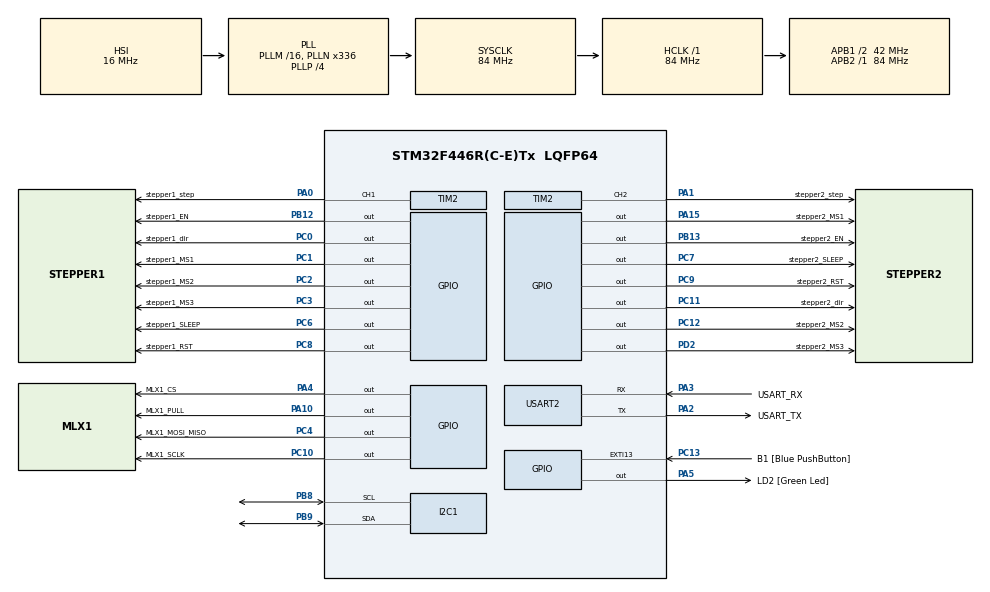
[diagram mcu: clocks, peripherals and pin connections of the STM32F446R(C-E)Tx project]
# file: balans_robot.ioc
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FREERTOS.Tasks01=defaultTask,0,128,StartDefaultTask,Default,NULL
I2C1.I2C_Mode=I2C_Standard
Mcu.Family=STM32F4
Mcu.Name=STM32F446R(C-E)Tx
Mcu.Package=LQFP64
Mcu.UserConstants=TIM2_PRESCALER,20
NVIC.PriorityGroup=NVIC_PRIORITYGROUP_4
NVIC.TIM1_UP_TIM10_IRQn=true\:0\:0\:false\:false\:true\:false
NVIC.TimeBase=TIM1_UP_TIM10_IRQn
NVIC.TimeBaseIP=TIM1
PA0-WKUP.GPIO_Label=stepper1_step
PA0-WKUP.Signal=S_TIM2_CH1_ETR
PA1.GPIO_Label=stepper2_step
PA1.Signal=S_TIM2_CH2
PA10.GPIO_Label=MLX1_PULL
PA10.Signal=GPIO_Output
PA13.GPIO_Label=TMS
PA13.Signal=SYS_JTMS-SWDIO
PA14.GPIO_Label=TCK
PA14.Signal=SYS_JTCK-SWCLK
PA15.GPIO_Label=stepper2_MS1
PA15.Signal=GPIO_Output
PA2.GPIO_Label=USART_TX
PA2.Mode=Asynchronous
PA2.Signal=USART2_TX
PA3.GPIO_Label=USART_RX
PA3.Mode=Asynchronous
PA3.Signal=USART2_RX
PA4.GPIO_Label=MLX1_CS
PA4.Signal=GPIO_Output
PA5.GPIO_Label=LD2 [Green Led]
PA5.Signal=GPIO_Output
PB12.GPIO_Label=stepper1_EN
PB12.Signal=GPIO_Output
PB13.GPIO_Label=stepper2_EN
PB13.Signal=GPIO_Output
PB15.Signal=SPI2_MOSI
PB3.GPIO_Label=SWO
PB3.Signal=SYS_JTDO-SWO
PB8.Mode=I2C
PB8.Signal=I2C1_SCL
PB9.Mode=I2C
PB9.Signal=I2C1_SDA
PC0.GPIO_Label=stepper1_dir
PC0.GPIO_PuPd=GPIO_PULLDOWN
PC0.Signal=GPIO_Output
PC1.GPIO_Label=stepper1_MS1
PC1.GPIO_PuPd=GPIO_PULLDOWN
PC1.Signal=GPIO_Output
PC10.GPIO_Label=MLX1_SCLK
PC10.Signal=GPIO_Output
PC11.GPIO_Label=stepper2_dir
PC11.Signal=GPIO_Output
PC12.GPIO_Label=stepper2_MS2
PC12.Signal=GPIO_Output
PC13.GPIO_Label=B1 [Blue PushButton]
PC13.GPIO_ModeDefaultEXTI=GPIO_MODE_IT_FALLING
PC13.Signal=GPXTI13
PC14-OSC32_IN.Signal=RCC_OSC32_IN
PC15-OSC32_OUT.Signal=RCC_OSC32_OUT
PC2.GPIO_Label=stepper1_MS2
PC2.GPIO_PuPd=GPIO_PULLDOWN
PC2.Signal=GPIO_Output
PC3.GPIO_Label=stepper1_MS3
PC3.GPIO_PuPd=GPIO_PULLDOWN
PC3.Signal=GPIO_Output
PC4.GPIO_Label=MLX1_MOSI_MISO
PC4.Signal=GPIO_Output
PC6.GPIO_Label=stepper1_SLEEP
PC6.Signal=GPIO_Output
PC7.GPIO_Label=stepper2_SLEEP
PC7.Signal=GPIO_Output
PC8.GPIO_Label=stepper1_RST
PC8.Signal=GPIO_Output
PC9.GPIO_Label=stepper2_RST
PC9.Signal=GPIO_Output
PD2.GPIO_Label=stepper2_MS3
PD2.Signal=GPIO_Output
PH0-OSC_IN.Signal=RCC_OSC_IN
PH1-OSC_OUT.Signal=RCC_OSC_OUT
ProjectManager.HeapSize=0x200
ProjectManager.StackSize=0x400
ProjectManager.TargetToolchain=TrueSTUDIO
RCC.AHBFreq_Value=84000000
RCC.APB1CLKDivider=RCC_HCLK_DIV2
RCC.APB1Freq_Value=42000000
RCC.APB1TimFreq_Value=84000000
RCC.APB2Freq_Value=84000000
RCC.APB2TimFreq_Value=84000000
RCC.CortexFreq_Value=84000000
RCC.FLatency-AdvancedSettings=FLASH_LATENCY_2
RCC.HCLKFreq_Value=84000000
RCC.HSE_VALUE=8000000
RCC.HSI_VALUE=16000000
RCC.LSE_VALUE=32768
RCC.PLLN=336
RCC.PLLP=RCC_PLLP_DIV4
RCC.PLLSourceVirtual=RCC_PLLSOURCE_HSI
RCC.RCC_RTC_Clock_SourceVirtual=RCC_RTCCLKSOURCE_LSI
RCC.SYSCLKFreq_VALUE=84000000
RCC.SYSCLKSource=RCC_SYSCLKSOURCE_PLLCLK
RCC.USBFreq_Value=168000000
RCC.VCOOutputFreq_Value=336000000
SH.S_TIM2_CH1_ETR.0=TIM2_CH1,PWM Generation1 CH1
SH.S_TIM2_CH2.0=TIM2_CH2,PWM Generation2 CH2
TIM2.Channel-PWM\ Generation1\ CH1=TIM_CHANNEL_1
TIM2.Channel-PWM\ Generation2\ CH2=TIM_CHANNEL_2
TIM2.ClockDivision=TIM_CLOCKDIVISION_DIV1
TIM2.Period=4000
TIM2.Prescaler=TIM2_PRESCALER
TIM2.Pulse-PWM\ Generation1\ CH1=2000
TIM2.Pulse-PWM\ Generation2\ CH2=2000
USART2.VirtualMode=VM_ASYNC
VP_FREERTOS_VS_ENABLE.Mode=Enabled
VP_SYS_VS_tim1.Mode=TIM1
VP_TIM3_VS_ClockSourceINT.Mode=Internal
board=NUCLEO-F446RE

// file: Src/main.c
/**
  ******************************************************************************
  * File Name          : main.c
  * Description        : Main program body
  ******************************************************************************
  * This notice applies to any and all portions of this file
  * that are not between comment pairs USER CODE BEGIN and
  * USER CODE END. Other portions of this file, whether
  * inserted by the user or by software development tools
  * are owned by their respective copyright owners.
  *
  * Copyright (c) 2017 STMicroelectronics International N.V.
  * All rights reserved.
  *
  * Redistribution and use in source and binary forms, with or without
  * modification, are permitted, provided that the following conditions are met:
  *
  * 1. Redistribution of source code must retain the above copyright notice,
  *    this list of conditions and the following disclaimer.
  * 2. Redistributions in binary form must reproduce the above copyright notice,
  *    this list of conditions and the following disclaimer in the documentation
  *    and/or other materials provided with the distribution.
  * 3. Neither the name of STMicroelectronics nor the names of other
  *    contributors to this software may be used to endorse or promote products
  *    derived from this software without specific written permission.
  * 4. This software, including modifications and/or derivative works of this
  *    software, must execute solely and exclusively on microcontroller or
  *    microprocessor devices manufactured by or for STMicroelectronics.
  * 5. Redistribution and use of this software other than as permitted under
  *    this license is void and will automatically terminate your rights under
  *    this license.
  *
  * THIS SOFTWARE IS PROVIDED BY STMICROELECTRONICS AND CONTRIBUTORS "AS IS"
  * AND ANY EXPRESS, IMPLIED OR STATUTORY WARRANTIES, INCLUDING, BUT NOT
  * LIMITED TO, THE IMPLIED WARRANTIES OF MERCHANTABILITY, FITNESS FOR A
  * PARTICULAR PURPOSE AND NON-INFRINGEMENT OF THIRD PARTY INTELLECTUAL PROPERTY
  * RIGHTS ARE DISCLAIMED TO THE FULLEST EXTENT PERMITTED BY LAW. IN NO EVENT
  * SHALL STMICROELECTRONICS OR CONTRIBUTORS BE LIABLE FOR ANY DIRECT, INDIRECT,
  * INCIDENTAL, SPECIAL, EXEMPLARY, OR CONSEQUENTIAL DAMAGES (INCLUDING, BUT NOT
  * LIMITED TO, PROCUREMENT OF SUBSTITUTE GOODS OR SERVICES; LOSS OF USE, DATA,
  * OR PROFITS; OR BUSINESS INTERRUPTION) HOWEVER CAUSED AND ON ANY THEORY OF
  * LIABILITY, WHETHER IN CONTRACT, STRICT LIABILITY, OR TORT (INCLUDING
  * NEGLIGENCE OR OTHERWISE) ARISING IN ANY WAY OUT OF THE USE OF THIS SOFTWARE,
  * EVEN IF ADVISED OF THE POSSIBILITY OF SUCH DAMAGE.
  *
  ******************************************************************************
  */
#include "main.h"
#include "stm32f4xx_hal.h"
#include "cmsis_os.h"
#include "i2c.h"
#include "tim.h"
#include "usart.h"
#include "gpio.h"

/* USER CODE BEGIN PV */
uint32_t HCLKFreq;				//System clock
uint32_t APB1_timer_clock;
uint32_t Tim2_freq;				//Timer 2 frequency (84MHz) default
uint32_t Tim2_counter_clock;	//Counter freq after prescaling
/* Private variables ---------------------------------------------------------*/

/* USER CODE END PV */

void SystemClock_Config(void);
void MX_FREERTOS_Init(void);

/* USER CODE BEGIN PFP */
/* Private function prototypes -----------------------------------------------*/

/* USER CODE END PFP */

int main(void)
{

  /* MCU Configuration----------------------------------------------------------*/

  /* Reset of all peripherals, Initializes the Flash interface and the Systick. */
  HAL_Init();

  /* Configure the system clock */
  SystemClock_Config();

  /* Initialize all configured peripherals */
  MX_GPIO_Init();
  MX_I2C1_Init();
  MX_TIM2_Init();
  MX_USART2_UART_Init();
  MX_TIM3_Init();

  /* USER CODE BEGIN 2 */

	HAL_TIM_OC_Start(&htim2, TIM_CHANNEL_1);	//start PWM CH1
	HAL_TIM_OC_Start(&htim2, TIM_CHANNEL_2);	//start PWM CH2
	init_system();
  /* USER CODE END 2 */

  /* Call init function for freertos objects (in freertos.c) */
  MX_FREERTOS_Init();

  /* Start scheduler */
  osKernelStart();

  /* We should never get here as control is now taken by the scheduler */

  /* Infinite loop */
  while (1)
  {

  }

}

/** System Clock Configuration
*/
void SystemClock_Config(void)
{

  RCC_OscInitTypeDef RCC_OscInitStruct;
  RCC_ClkInitTypeDef RCC_ClkInitStruct;

    /**Configure the main internal regulator output voltage
    */
  __HAL_RCC_PWR_CLK_ENABLE();

  __HAL_PWR_VOLTAGESCALING_CONFIG(PWR_REGULATOR_VOLTAGE_SCALE3);

    /**Initializes the CPU, AHB and APB busses clocks
    */
  RCC_OscInitStruct.OscillatorType = RCC_OSCILLATORTYPE_HSI;
  RCC_OscInitStruct.HSIState = RCC_HSI_ON;
  RCC_OscInitStruct.HSICalibrationValue = 16;
  RCC_OscInitStruct.PLL.PLLState = RCC_PLL_ON;
  RCC_OscInitStruct.PLL.PLLSource = RCC_PLLSOURCE_HSI;
  RCC_OscInitStruct.PLL.PLLM = 16;
  RCC_OscInitStruct.PLL.PLLN = 336;
  RCC_OscInitStruct.PLL.PLLP = RCC_PLLP_DIV4;
  RCC_OscInitStruct.PLL.PLLQ = 2;
  RCC_OscInitStruct.PLL.PLLR = 2;
  if (HAL_RCC_OscConfig(&RCC_OscInitStruct) != HAL_OK)
  {
    _Error_Handler(__FILE__, __LINE__);
  }

    /**Initializes the CPU, AHB and APB busses clocks
    */
  RCC_ClkInitStruct.ClockType = RCC_CLOCKTYPE_HCLK|RCC_CLOCKTYPE_SYSCLK
                              |RCC_CLOCKTYPE_PCLK1|RCC_CLOCKTYPE_PCLK2;
  RCC_ClkInitStruct.SYSCLKSource = RCC_SYSCLKSOURCE_PLLCLK;
  RCC_ClkInitStruct.AHBCLKDivider = RCC_SYSCLK_DIV1;
  RCC_ClkInitStruct.APB1CLKDivider = RCC_HCLK_DIV2;
  RCC_ClkInitStruct.APB2CLKDivider = RCC_HCLK_DIV1;

  if (HAL_RCC_ClockConfig(&RCC_ClkInitStruct, FLASH_LATENCY_2) != HAL_OK)
  {
    _Error_Handler(__FILE__, __LINE__);
  }

    /**Configure the Systick interrupt time
    */
  HAL_SYSTICK_Config(HAL_RCC_GetHCLKFreq()/1000);

    /**Configure the Systick
    */
  HAL_SYSTICK_CLKSourceConfig(SYSTICK_CLKSOURCE_HCLK);

  /* SysTick_IRQn interrupt configuration */
  HAL_NVIC_SetPriority(SysTick_IRQn, 15, 0);
}

void HAL_TIM_PeriodElapsedCallback(TIM_HandleTypeDef *htim)
{
  if (htim->Instance == TIM1) {
    HAL_IncTick();
  }
}

void _Error_Handler(char * file, int line)
{
  while(1)
  {
  }
}

/************************ (C) COPYRIGHT STMicroelectronics *****END OF FILE****/

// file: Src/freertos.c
/**
  ******************************************************************************
  * File Name          : freertos.c
  * Description        : Code for freertos applications
  ******************************************************************************
  * This notice applies to any and all portions of this file
  * that are not between comment pairs USER CODE BEGIN and
  * USER CODE END. Other portions of this file, whether
  * inserted by the user or by software development tools
  * are owned by their respective copyright owners.
  *
  * Copyright (c) 2017 STMicroelectronics International N.V.
  * All rights reserved.
  *
  * Redistribution and use in source and binary forms, with or without
  * modification, are permitted, provided that the following conditions are met:
  *
  * 1. Redistribution of source code must retain the above copyright notice,
  *    this list of conditions and the following disclaimer.
  * 2. Redistributions in binary form must reproduce the above copyright notice,
  *    this list of conditions and the following disclaimer in the documentation
  *    and/or other materials provided with the distribution.
  * 3. Neither the name of STMicroelectronics nor the names of other
  *    contributors to this software may be used to endorse or promote products
  *    derived from this software without specific written permission.
  * 4. This software, including modifications and/or derivative works of this
  *    software, must execute solely and exclusively on microcontroller or
  *    microprocessor devices manufactured by or for STMicroelectronics.
  * 5. Redistribution and use of this software other than as permitted under
  *    this license is void and will automatically terminate your rights under
  *    this license.
  *
  * THIS SOFTWARE IS PROVIDED BY STMICROELECTRONICS AND CONTRIBUTORS "AS IS"
  * AND ANY EXPRESS, IMPLIED OR STATUTORY WARRANTIES, INCLUDING, BUT NOT
  * LIMITED TO, THE IMPLIED WARRANTIES OF MERCHANTABILITY, FITNESS FOR A
  * PARTICULAR PURPOSE AND NON-INFRINGEMENT OF THIRD PARTY INTELLECTUAL PROPERTY
  * RIGHTS ARE DISCLAIMED TO THE FULLEST EXTENT PERMITTED BY LAW. IN NO EVENT
  * SHALL STMICROELECTRONICS OR CONTRIBUTORS BE LIABLE FOR ANY DIRECT, INDIRECT,
  * INCIDENTAL, SPECIAL, EXEMPLARY, OR CONSEQUENTIAL DAMAGES (INCLUDING, BUT NOT
  * LIMITED TO, PROCUREMENT OF SUBSTITUTE GOODS OR SERVICES; LOSS OF USE, DATA,
  * OR PROFITS; OR BUSINESS INTERRUPTION) HOWEVER CAUSED AND ON ANY THEORY OF
  * LIABILITY, WHETHER IN CONTRACT, STRICT LIABILITY, OR TORT (INCLUDING
  * NEGLIGENCE OR OTHERWISE) ARISING IN ANY WAY OUT OF THE USE OF THIS SOFTWARE,
  * EVEN IF ADVISED OF THE POSSIBILITY OF SUCH DAMAGE.
  *
  ******************************************************************************
  */

#include "FreeRTOS.h"
#include "task.h"
#include "cmsis_os.h"

/* USER CODE BEGIN Includes */
#include "main.h"
#include "stm32f4xx_hal_gpio.h"
#include "HTS221.h"
#include "i2c.h"
#include "usart.h"
#include "math.h"
/* USER CODE END Includes */

osThreadId defaultTaskHandle;

/* USER CODE BEGIN Variables */
float temperature;
int16_t temperature_int;
uint8_t temp_H;
uint8_t temp_L;

float w_deg = 0;
float state_vector[4] = { 0, 0, 0, 0 };
int16_t acc_in = 0;
uint8_t serial_in_buffer[2];
float ang_acc = 0;
uint8_t switch_flag = 0;
/* USER CODE END Variables */

void StartDefaultTask(void const * argument);

void MX_FREERTOS_Init(void); /* (MISRA C 2004 rule 8.1) */

/* USER CODE BEGIN FunctionPrototypes */

void HTS221_read_reg(void *handle, uint8_t RegAddr, uint16_t NumByteToRead, uint8_t *Data);
float HTS221_read_temp(void);
void ComplementaryFilter(float *theta_comp, float *theta_raw);
void get_states(float *statevector, float w_rad);
void LSM6DSL_Get_config(void);
void send_ang_velocity(float w_rad);
float calc_control_input(void);
float PID(void);
/* USER CODE END FunctionPrototypes */

/* Hook prototypes */

/* Init FreeRTOS */

void MX_FREERTOS_Init(void) {

  /* Create the thread(s) */
  /* definition and creation of defaultTask */
  osThreadDef(defaultTask, StartDefaultTask, osPriorityNormal, 0, 128);
  defaultTaskHandle = osThreadCreate(osThread(defaultTask), NULL);

}

/* StartDefaultTask function */
void StartDefaultTask(void const * argument)
{

  /* USER CODE BEGIN StartDefaultTask */
	char *msg = "Hello Nucleo Fun!\n\r";

	float ang_acc = 0;
	uint8_t v_cm = 0;
	uint8_t button = 0;

	uint8_t v_cm_old = 0;

	//Initial conditions
	w_deg = 0;
	ang_acc = 0;
	send_ang_velocity(w_deg);
  /* Infinite loop */
	for (;;)
	{
			//Simulink send acc
			/*
		HAL_UART_Receive(&huart2, serial_in_buffer, 2, 10);
		acc_in = (int16_t) (((serial_in_buffer[0]) << 8) + (serial_in_buffer[1]));
		ang_acc = ((float) acc_in) / 10;
		w_rad = (ang_acc*h) + w_rad;
		send_ang_velocity(w_rad);
		*/

		//HAL_I2C_Mem_Read(&hi2c1, LSM6DSL_ADDRESS, LSM6DSL_WHO_AM_I_REG, 1, &signature, 1, 100);	//Get device signature
		//init_system();
		//LSM6DSL_init();
		get_states(state_vector, w_deg);
		if ((HAL_GPIO_ReadPin(B1_GPIO_Port, B1_Pin) == 0) || (switch_flag == 1))
		{
			switch_flag = 1;
			HAL_GPIO_WritePin(GPIOA, GPIO_PIN_5, 1);

			ang_acc = calc_control_input();

			//ang_acc = PID();

			w_deg = (ang_acc*TS) + w_deg;
			//w_rad = 1;
			send_ang_velocity(w_deg);

		}

		HAL_GPIO_WritePin(GPIOA, GPIO_PIN_5, 0);
		osDelay(100);
	}
  /* USER CODE END StartDefaultTask */
}

/************************ (C) COPYRIGHT STMicroelectronics *****END OF FILE****/
